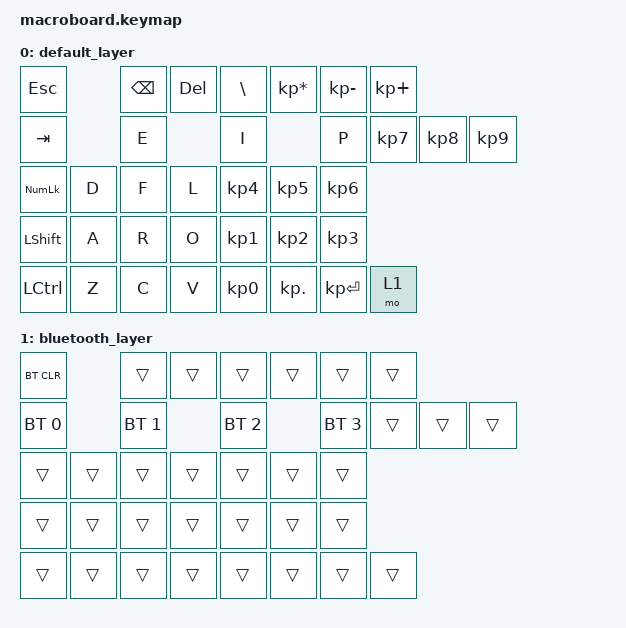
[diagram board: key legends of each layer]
#include <behaviors.dtsi>
#include <dt-bindings/zmk/keys.h>
#include <dt-bindings/zmk/bt.h>

/ {
    keymap {
        compatible = "zmk,keymap";

        default_layer {
            bindings = <
                &kp ESC &kp BSPC &kp DEL &kp BSLH &kp KP_MULTIPLY &kp KP_MINUS &kp KP_PLUS
                &kp TAB &kp E &kp I &kp P &kp KP_N7 &kp KP_N8 &kp KP_N9
                &kp KP_NUM &kp D &kp F &kp L &kp KP_N4 &kp KP_N5 &kp KP_N6
                &kp LSHFT &kp A &kp R &kp O &kp KP_N1 &kp KP_N2 &kp KP_N3
                &kp LCTRL &kp Z &kp C &kp V &kp KP_N0 &kp KP_DOT &kp KP_ENTER &mo 1
            >;
        };

        bluetooth_layer {
            bindings = <
                &bt BT_CLR &trans &trans &trans &trans &trans &trans
                &bt BT_SEL 0 &bt BT_SEL 1 &bt BT_SEL 2 &bt BT_SEL 3 &trans &trans &trans
                &trans &trans &trans &trans &trans &trans &trans
                &trans &trans &trans &trans &trans &trans &trans
                &trans &trans &trans &trans &trans &trans &trans &trans
            >;
        };
    };
};
